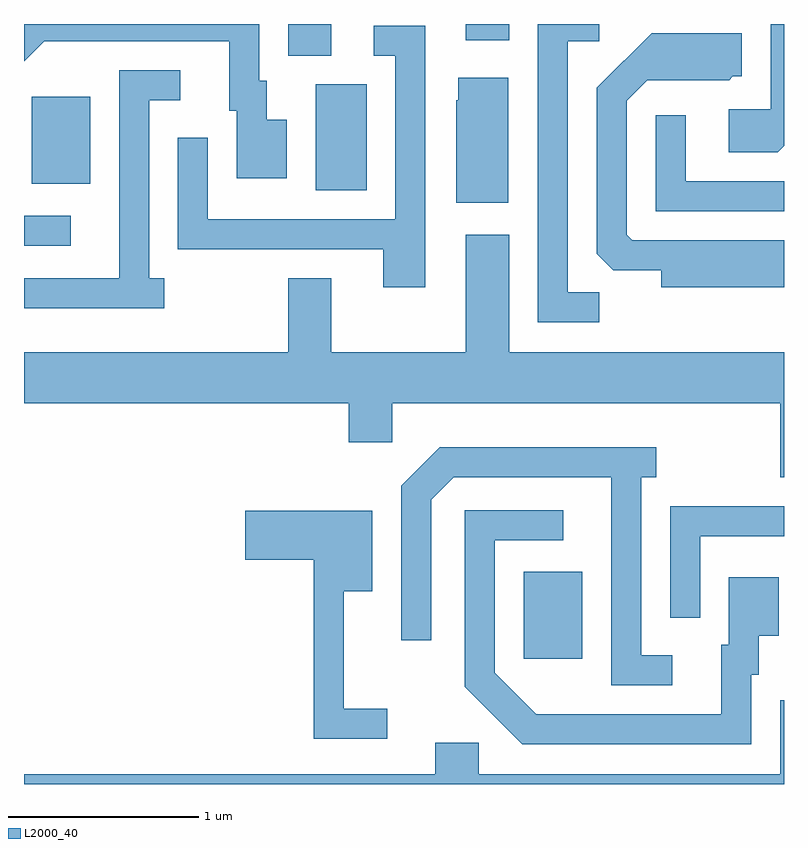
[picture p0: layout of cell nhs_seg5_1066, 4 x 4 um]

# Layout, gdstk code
import gdstk
lib = gdstk.Library(unit=1e-6, precision=1e-09)
def R(c, l, rs):  # rectangles x0, y0, x1, y1
    for r in rs: c.add(gdstk.rectangle(r[:2], r[2:], *l))
def P(c, l, *ps):  # polygons
    for p in ps: c.add(gdstk.Polygon(p, *l))
L2000_40 = (2000, 40)

nhs_seg5_1066 = lib.new_cell('nhs_seg5_1066')
R(nhs_seg5_1066, L2000_40, [(218.241,1508.731,218.549,1509.189), (215.611,1510.906,215.858,1511.064), (217.146,1511.196,217.414,1511.754), (215.651,1511.231,215.959,1511.689), (217.001,1511.906,217.229,1512.072), (217.936,1511.986,218.164,1512.072)])
P(nhs_seg5_1066, L2000_40, [(219.611,1511.43),(219.611,1512.072),(219.541,1512.072),(219.541,1511.624),(219.321,1511.624),(219.321,1511.396),(219.577,1511.396)],
  [(216.994,1511.569),(216.889,1511.569),(216.889,1511.774),(216.849,1511.774),(216.849,1512.072),(215.611,1512.072),(215.611,1511.875),(215.717,1511.981),(216.691,1511.981),(216.691,1511.616),(216.731,1511.616),(216.731,1511.261),(216.994,1511.261)],
  [(218.638,1510.659),(218.474,1510.659),(218.474,1511.981),(218.638,1511.981),(218.638,1512.072),(218.316,1512.072),(218.316,1510.501),(218.638,1510.501)],
  [(217.724,1512.064),(217.453,1512.064),(217.453,1511.906),(217.566,1511.906),(217.566,1511.044),(216.579,1511.044),(216.579,1511.473),(216.421,1511.473),(216.421,1510.886),(217.501,1510.886),(217.501,1510.686),(217.724,1510.686)],
  [(219.611,1510.934),(218.812,1510.934),(218.784,1510.962),(218.784,1511.669),(218.892,1511.776),(219.322,1511.776),(219.342,1511.796),(219.389,1511.796),(219.389,1512.024),(218.914,1512.024),(218.626,1511.737),(218.626,1510.862),(218.712,1510.776),(218.966,1510.776),(218.966,1510.686),(219.611,1510.686)],
  [(216.348,1510.734),(216.269,1510.734),(216.269,1511.671),(216.433,1511.671),(216.433,1511.829),(216.111,1511.829),(216.111,1510.734),(215.611,1510.734),(215.611,1510.576),(216.348,1510.576)],
  [(218.159,1511.789),(217.896,1511.789),(217.896,1511.67),(217.886,1511.67),(217.886,1511.131),(218.159,1511.131)],
  [(219.611,1511.244),(219.094,1511.244),(219.094,1511.593),(218.936,1511.593),(218.936,1511.086),(219.611,1511.086)],
  [(219.611,1510.344),(218.164,1510.344),(218.164,1510.964),(217.936,1510.964),(217.936,1510.344),(217.229,1510.344),(217.229,1510.734),(217.001,1510.734),(217.001,1510.344),(215.611,1510.344),(215.611,1510.076),(217.321,1510.076),(217.321,1509.871),(217.549,1509.871),(217.549,1510.076),(219.591,1510.076),(219.591,1509.686),(219.611,1509.686)],
  [(219.023,1508.749),(218.859,1508.749),(218.859,1509.686),(218.938,1509.686),(218.938,1509.844),(217.799,1509.844),(217.596,1509.642),(217.596,1508.828),(217.754,1508.828),(217.754,1509.569),(217.872,1509.686),(218.701,1509.686),(218.701,1508.591),(219.023,1508.591)],
  [(219.169,1509.376),(219.611,1509.376),(219.611,1509.534),(219.011,1509.534),(219.011,1508.948),(219.169,1508.948)],
  [(219.439,1508.646),(219.479,1508.646),(219.479,1508.851),(219.584,1508.851),(219.584,1509.159),(219.321,1509.159),(219.321,1508.804),(219.281,1508.804),(219.281,1508.439),(218.307,1508.439),(218.089,1508.657),(218.089,1509.356),(218.448,1509.356),(218.448,1509.514),(217.931,1509.514),(217.931,1508.584),(218.234,1508.281),(219.439,1508.281)],
  [(217.523,1508.469),(217.294,1508.469),(217.294,1509.086),(217.444,1509.086),(217.444,1509.509),(216.776,1509.509),(216.776,1509.251),(217.136,1509.251),(217.136,1508.311),(217.523,1508.311)],
  [(219.611,1508.514),(219.591,1508.514),(219.591,1508.124),(218.004,1508.124),(218.004,1508.289),(217.776,1508.289),(217.776,1508.124),(215.611,1508.124),(215.611,1508.072),(219.611,1508.072)])

lib.write_gds('nhs_seg5_1066.gds')
